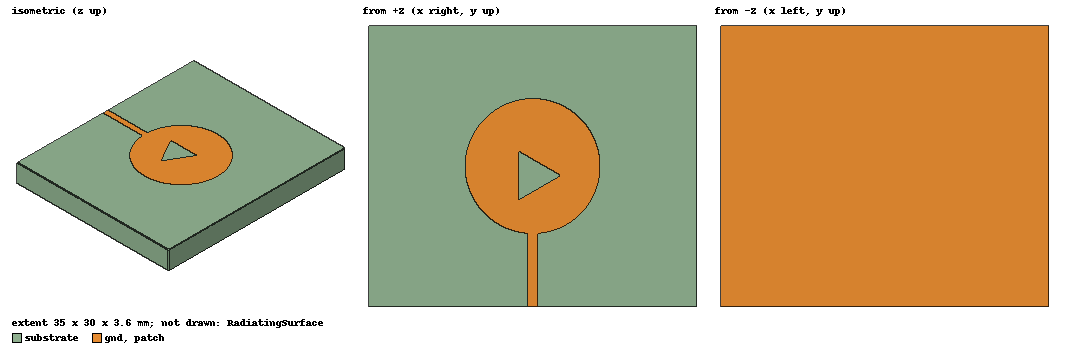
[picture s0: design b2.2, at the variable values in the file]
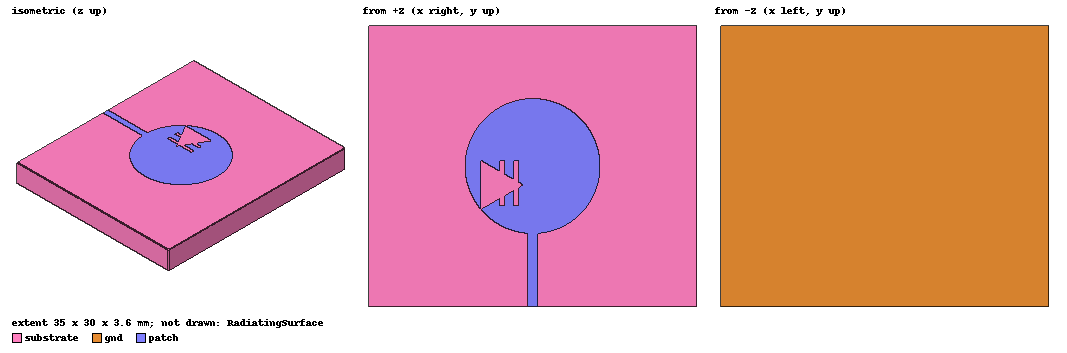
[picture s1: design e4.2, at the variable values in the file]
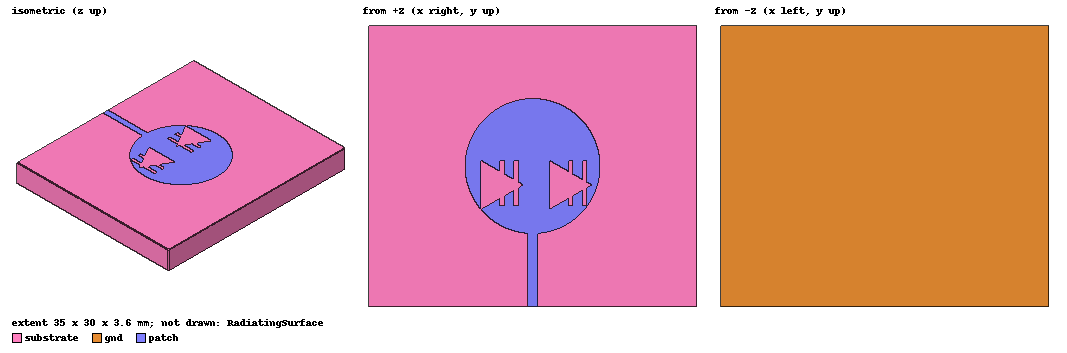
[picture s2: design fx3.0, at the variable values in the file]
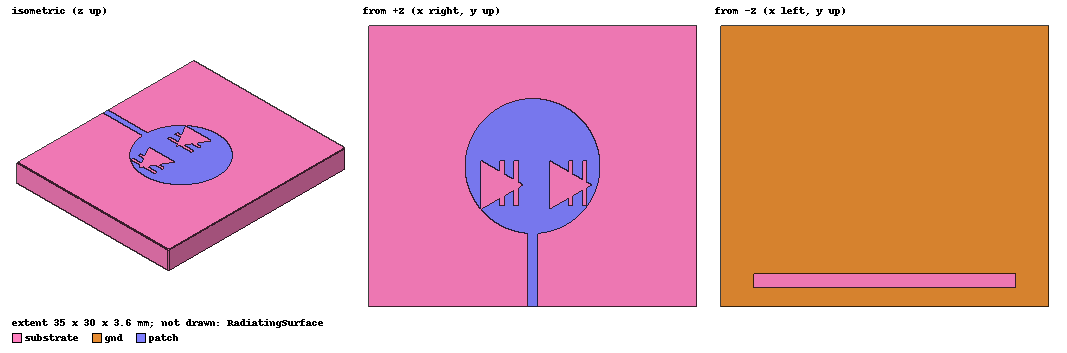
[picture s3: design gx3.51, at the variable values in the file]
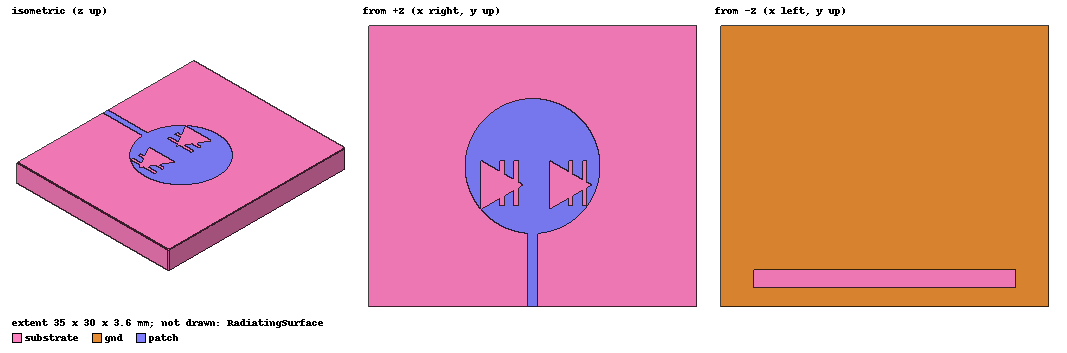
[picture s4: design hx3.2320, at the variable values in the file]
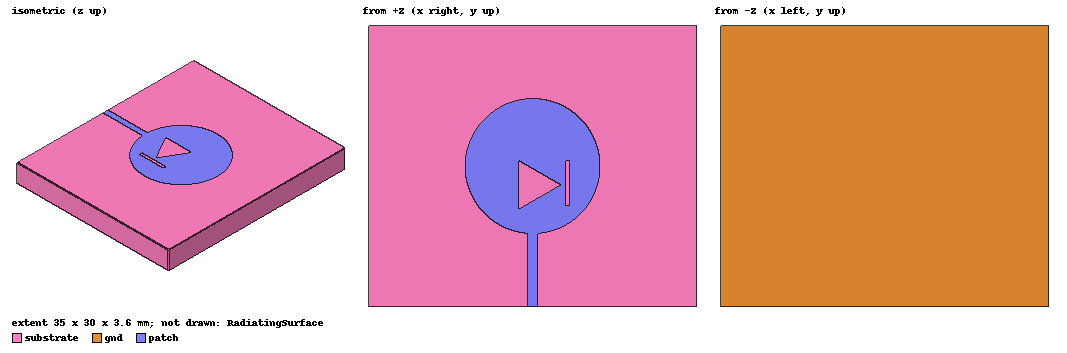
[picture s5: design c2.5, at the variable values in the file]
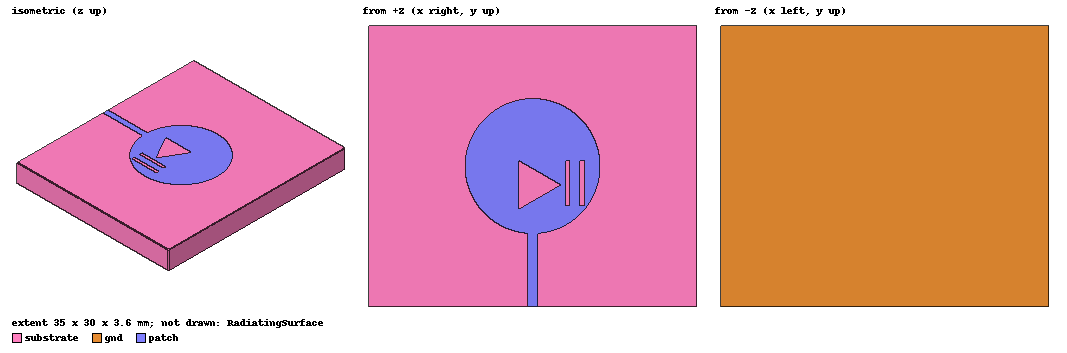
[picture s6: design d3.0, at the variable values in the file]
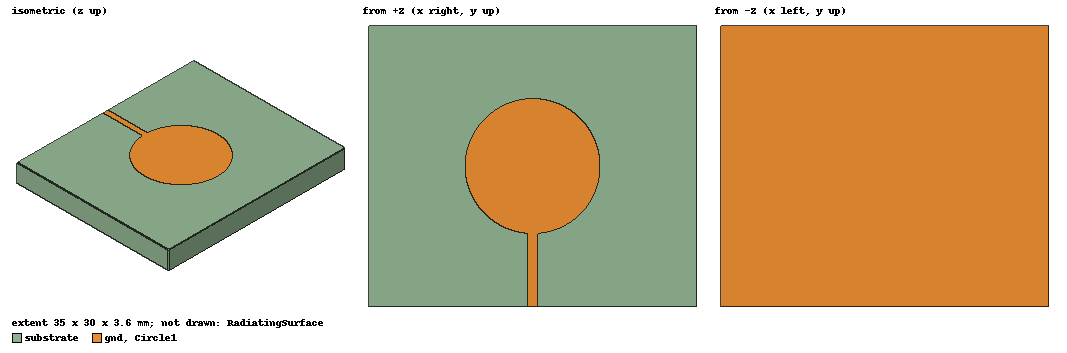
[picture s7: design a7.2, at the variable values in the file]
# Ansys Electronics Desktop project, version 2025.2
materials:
  FR4_epoxy: permittivity=4.4 dielectric_loss_tangent=0.02
  vacuum: permittivity=1

design b2.2 (HFSS, HFSS Modal Network, model units mm)
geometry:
  gnd = rectangle(corner=(0mm, 0mm, 0mm), x_size=35mm, y_size=30mm)
  substrate [FR4_epoxy] = box(corner=(0mm, 0mm, 0mm), size=(35mm, 30mm, 3.6mm))
  feed = rectangle(corner=(17mm, 0mm, 3.6mm), x_size=1mm, y_size=13.5mm)
  port = rectangle(corner=(17mm, 0mm, 0mm), z_size=3.6mm, x_size=1mm)
  RadiatingSurface [vacuum] = region(absolute_offset=20mm on all sides)
  patch = circle(normal=Z, centre=(17.5mm, 15mm, 3.6mm), radius=7.2mm)
  patch.unite(feed)
  slot = circle(normal=Z, centre=(17.5mm, 14mm, 3.6mm), radius=3mm, segments=3)
  patch.subtract(slot)
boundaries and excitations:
  PerfE1: Perfect E Objects=gnd
  Open1: Radiation Objects=RadiatingSurface
  PerfE2: Perfect E Objects=patch
  1: Lumped Port Objects=port LumpedPortType=Modal Modes{Mode1{IntLine{(17.5, 0, 0) -> (17.5, 0, 3.6)} CharImp=Zpi}} Impedance=50ohm
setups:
  Setup1: HfssDriven Frequency=5GHz MaxDeltaS=0.02 MaximumPasses=6 MinimumPasses=1 MinimumConvergedPasses=1 PercentRefinement=30 BasisOrder=1 PortAccuracy=2 DrivenSolverType="Direct Solver"
    sweep Sweep: 2.5GHz to 10GHz step 0.0125GHz; Type=Fast SaveFields
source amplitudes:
  1:1: 1W 0deg
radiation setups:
  3D: Infinite Sphere Theta=0deg..180deg step 2deg Phi=-180deg..180deg step 2deg
  Elevation: Infinite Sphere Theta=-180deg..180deg step 1deg Phi=0deg..90deg step 90deg
  Azimuth: Infinite Sphere Theta=90deg..90deg step 0deg Phi=-180deg..180deg step 1deg
  Infinite Sphere1: Infinite Sphere Theta=0deg..180deg step 10deg Phi=0deg..360deg step 10deg
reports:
  S Parameter Plot1: dB(S(1,1)) vs Freq on Setup1 : Sweep; markers m1 at 4.875GHz, m2 at 7.5125GHz, m3 at 9.2625GHz, MY1 at y=-10
  Gain Plot16: dB(GainTotal) vs Phi, Theta on Setup1 : Sweep, Infinite Sphere1 [Freq=7.5125GHz]
  Gain Plot17: dB(GainTotal) vs Phi, Theta on Setup1 : Sweep, Infinite Sphere1 [Freq=4.875GHz]
  Gain Plot18: dB(GainTotal) vs Phi, Theta on Setup1 : Sweep, Infinite Sphere1 [Freq=9.2625GHz]

design e4.2 (HFSS, HFSS Modal Network, model units mm)
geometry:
  gnd = rectangle(corner=(0mm, 0mm, 0mm), x_size=35mm, y_size=30mm)
  substrate [FR4_epoxy] = box(corner=(0mm, 0mm, 0mm), size=(35mm, 30mm, 3.6mm))
  feed = rectangle(corner=(17mm, 0mm, 3.6mm), x_size=1mm, y_size=13.5mm)
  port = rectangle(corner=(17mm, 0mm, 0mm), z_size=3.6mm, x_size=1mm)
  RadiatingSurface [vacuum] = region(absolute_offset=20mm on all sides)
  patch = circle(normal=Z, centre=(17.5mm, 15mm, 3.6mm), radius=7.2mm)
  patch.unite(feed)
  slot = circle(normal=Z, centre=(13.5mm, 13mm, 3.6mm), radius=3mm, segments=3)
  patch.subtract(slot)
  Rectangle1 = rectangle(corner=(14mm, 10.74mm, 3.6mm), x_size=0.5mm, y_size=4.8mm)
  patch.subtract(Rectangle1)
  Rectangle2 = rectangle(corner=(15.5mm, 10.74mm, 3.6mm), x_size=0.5mm, y_size=4.8mm)
  patch.subtract(Rectangle2)
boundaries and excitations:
  PerfE1: Perfect E Objects=gnd
  Open1: Radiation Objects=RadiatingSurface
  PerfE2: Perfect E Objects=patch
  1: Lumped Port Objects=port LumpedPortType=Modal Modes{Mode1{IntLine{(17.5, 0, 0) -> (17.5, 0, 3.6)} CharImp=Zpi}} Impedance=50ohm
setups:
  Setup1: HfssDriven Frequency=5GHz MaxDeltaS=0.02 MaximumPasses=6 MinimumPasses=1 MinimumConvergedPasses=1 PercentRefinement=30 BasisOrder=1 PortAccuracy=2 DrivenSolverType="Direct Solver"
    sweep Sweep: 2.5GHz to 10GHz step 0.0125GHz; Type=Fast SaveFields
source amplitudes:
  1:1: 1W 0deg
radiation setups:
  3D: Infinite Sphere Theta=0deg..180deg step 2deg Phi=-180deg..180deg step 2deg
  Elevation: Infinite Sphere Theta=-180deg..180deg step 1deg Phi=0deg..90deg step 90deg
  Azimuth: Infinite Sphere Theta=90deg..90deg step 0deg Phi=-180deg..180deg step 1deg
  Infinite Sphere1: Infinite Sphere Theta=0deg..180deg step 10deg Phi=0deg..360deg step 10deg
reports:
  S Parameter Plot1: dB(S(1,1)) vs Freq on Setup1 : Sweep; markers m1 at 4.8625GHz, m2 at 7.4875GHz, m3 at 9.1625GHz, MY1 at y=-10
  Gain Plot16: dB(GainTotal) vs Phi, Theta on Setup1 : Sweep, Infinite Sphere1 [Freq=7.4875GHz]
  Gain Plot17: dB(GainTotal) vs Phi, Theta on Setup1 : Sweep, Infinite Sphere1 [Freq=4.8625GHz]
  Gain Plot18: dB(GainTotal) vs Phi, Theta on Setup1 : Sweep, Infinite Sphere1 [Freq=9.1625GHz]

design fx3.0 (HFSS, HFSS Modal Network, model units mm)
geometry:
  gnd = rectangle(corner=(0mm, 0mm, 0mm), x_size=35mm, y_size=30mm)
  substrate [FR4_epoxy] = box(corner=(0mm, 0mm, 0mm), size=(35mm, 30mm, 3.6mm))
  feed = rectangle(corner=(17mm, 0mm, 3.6mm), x_size=1mm, y_size=13.5mm)
  port = rectangle(corner=(17mm, 0mm, 0mm), z_size=3.6mm, x_size=1mm)
  RadiatingSurface [vacuum] = region(absolute_offset=20mm on all sides)
  patch = circle(normal=Z, centre=(17.5mm, 15mm, 3.6mm), radius=7.2mm)
  patch.unite(feed)
  slot = circle(normal=Z, centre=(13.5mm, 13mm, 3.6mm), radius=3mm, segments=3)
  patch.subtract(slot)
  Rectangle1 = rectangle(corner=(14mm, 10.74mm, 3.6mm), x_size=0.5mm, y_size=4.8mm)
  patch.subtract(Rectangle1)
  Rectangle2 = rectangle(corner=(15.5mm, 10.74mm, 3.6mm), x_size=0.5mm, y_size=4.8mm)
  patch.subtract(Rectangle2)
  slot1 = circle(normal=Z, centre=(20.8mm, 13mm, 3.6mm), radius=3mm, segments=3)
  Rectangle3 = rectangle(corner=(21.3mm, 10.74mm, 3.6mm), x_size=0.5mm, y_size=4.8mm)
  Rectangle4 = rectangle(corner=(22.8mm, 10.74mm, 3.6mm), x_size=0.5mm, y_size=4.8mm)
  patch.subtract(Rectangle3, Rectangle4, slot1)
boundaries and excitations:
  PerfE1: Perfect E Objects=gnd
  Open1: Radiation Objects=RadiatingSurface
  PerfE2: Perfect E Objects=patch
  1: Lumped Port Objects=port LumpedPortType=Modal Modes{Mode1{IntLine{(17.5, 0, 0) -> (17.5, 0, 3.6)} CharImp=Zpi}} Impedance=50ohm
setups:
  Setup1: HfssDriven Frequency=5GHz MaxDeltaS=0.02 MaximumPasses=6 MinimumPasses=1 MinimumConvergedPasses=1 PercentRefinement=30 BasisOrder=1 PortAccuracy=2 DrivenSolverType="Direct Solver"
    sweep Sweep: 2.5GHz to 10GHz step 0.0125GHz; Type=Fast SaveFields
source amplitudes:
  1:1: 1W 0deg
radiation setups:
  3D: Infinite Sphere Theta=0deg..180deg step 2deg Phi=-180deg..180deg step 2deg
  Elevation: Infinite Sphere Theta=-180deg..180deg step 1deg Phi=0deg..90deg step 90deg
  Azimuth: Infinite Sphere Theta=90deg..90deg step 0deg Phi=-180deg..180deg step 1deg
  Infinite Sphere1: Infinite Sphere Theta=0deg..180deg step 10deg Phi=0deg..360deg step 10deg
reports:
  S Parameter Plot1: dB(S(1,1)) vs Freq on Setup1 : Sweep; markers m1 at 4.775GHz, m2 at 7.4625GHz, m3 at 9.0375GHz, MY1 at y=-10
  Gain Plot16: dB(GainTotal) vs Phi, Theta on Setup1 : Sweep, Infinite Sphere1 [Freq=7.4625GHz]
  Gain Plot17: dB(GainTotal) vs Phi, Theta on Setup1 : Sweep, Infinite Sphere1 [Freq=4.775GHz]
  Gain Plot18: dB(GainTotal) vs Phi, Theta on Setup1 : Sweep, Infinite Sphere1 [Freq=9.0375GHz]

design gx3.51 (HFSS, HFSS Modal Network, model units mm)
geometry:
  gnd = rectangle(corner=(0mm, 0mm, 0mm), x_size=35mm, y_size=30mm)
  substrate [FR4_epoxy] = box(corner=(0mm, 0mm, 0mm), size=(35mm, 30mm, 3.6mm))
  feed = rectangle(corner=(17mm, 0mm, 3.6mm), x_size=1mm, y_size=13.5mm)
  port = rectangle(corner=(17mm, 0mm, 0mm), z_size=3.6mm, x_size=1mm)
  RadiatingSurface [vacuum] = region(absolute_offset=20mm on all sides)
  patch = circle(normal=Z, centre=(17.5mm, 15mm, 3.6mm), radius=7.2mm)
  patch.unite(feed)
  slot = circle(normal=Z, centre=(13.5mm, 13mm, 3.6mm), radius=3mm, segments=3)
  patch.subtract(slot)
  Rectangle1 = rectangle(corner=(14mm, 10.74mm, 3.6mm), x_size=0.5mm, y_size=4.8mm)
  patch.subtract(Rectangle1)
  Rectangle2 = rectangle(corner=(15.5mm, 10.74mm, 3.6mm), x_size=0.5mm, y_size=4.8mm)
  patch.subtract(Rectangle2)
  slot1 = circle(normal=Z, centre=(20.8mm, 13mm, 3.6mm), radius=3mm, segments=3)
  Rectangle3 = rectangle(corner=(21.3mm, 10.74mm, 3.6mm), x_size=0.5mm, y_size=4.8mm)
  Rectangle4 = rectangle(corner=(22.8mm, 10.74mm, 3.6mm), x_size=0.5mm, y_size=4.8mm)
  patch.subtract(Rectangle3, Rectangle4, slot1)
  Rectangle5 = rectangle(corner=(3.5mm, 2mm, 0mm), x_size=28mm, y_size=1.5mm)
  gnd.subtract(Rectangle5)
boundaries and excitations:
  PerfE1: Perfect E Objects=gnd
  Open1: Radiation Objects=RadiatingSurface
  PerfE2: Perfect E Objects=patch
  1: Lumped Port Objects=port LumpedPortType=Modal Modes{Mode1{IntLine{(17.5, 0, 0) -> (17.5, 0, 3.6)} CharImp=Zpi}} Impedance=50ohm
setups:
  Setup1: HfssDriven Frequency=5GHz MaxDeltaS=0.02 MaximumPasses=6 MinimumPasses=1 MinimumConvergedPasses=1 PercentRefinement=30 BasisOrder=1 PortAccuracy=2 DrivenSolverType="Direct Solver"
    sweep Sweep: 2.5GHz to 10GHz step 0.0125GHz; Type=Fast SaveFields
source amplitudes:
  1:1: 1W 0deg
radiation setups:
  3D: Infinite Sphere Theta=0deg..180deg step 2deg Phi=-180deg..180deg step 2deg
  Elevation: Infinite Sphere Theta=-180deg..180deg step 1deg Phi=0deg..90deg step 90deg
  Azimuth: Infinite Sphere Theta=90deg..90deg step 0deg Phi=-180deg..180deg step 1deg
  Infinite Sphere1: Infinite Sphere Theta=0deg..180deg step 10deg Phi=0deg..360deg step 10deg
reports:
  S Parameter Plot1: dB(S(1,1)) vs Freq on Setup1 : Sweep; markers m1 at 3.725GHz, m2 at 5.025GHz, m3 at 7.35GHz, m4 at 8.9125GHz, m5 at 9.75GHz, MY1 at y=-10
  Gain Plot20: dB(GainTotal) vs Phi, Theta on Setup1 : Sweep, Infinite Sphere1 [Freq=3.75GHz]
  Gain Plot21: dB(GainTotal) vs Phi, Theta on Setup1 : Sweep, Infinite Sphere1 [Freq=5.025GHz]
  Gain Plot22: dB(GainTotal) vs Phi, Theta on Setup1 : Sweep, Infinite Sphere1 [Freq=7.35GHz]
  Gain Plot23: dB(GainTotal) vs Phi, Theta on Setup1 : Sweep, Infinite Sphere1 [Freq=8.9125GHz]
  Gain Plot24: dB(GainTotal) vs Phi, Theta on Setup1 : Sweep, Infinite Sphere1 [Freq=9.975GHz]

design hx3.2320 (HFSS, HFSS Modal Network, model units mm)
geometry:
  gnd = rectangle(corner=(0mm, 0mm, 0mm), x_size=35mm, y_size=30mm)
  substrate [FR4_epoxy] = box(corner=(0mm, 0mm, 0mm), size=(35mm, 30mm, 3.6mm))
  feed = rectangle(corner=(17mm, 0mm, 3.6mm), x_size=1mm, y_size=13.5mm)
  port = rectangle(corner=(17mm, 0mm, 0mm), z_size=3.6mm, x_size=1mm)
  RadiatingSurface [vacuum] = region(absolute_offset=20mm on all sides)
  patch = circle(normal=Z, centre=(17.5mm, 15mm, 3.6mm), radius=7.2mm)
  patch.unite(feed)
  slot = circle(normal=Z, centre=(13.5mm, 13mm, 3.6mm), radius=3mm, segments=3)
  patch.subtract(slot)
  Rectangle1 = rectangle(corner=(14mm, 10.74mm, 3.6mm), x_size=0.5mm, y_size=4.8mm)
  patch.subtract(Rectangle1)
  Rectangle2 = rectangle(corner=(15.5mm, 10.74mm, 3.6mm), x_size=0.5mm, y_size=4.8mm)
  patch.subtract(Rectangle2)
  slot1 = circle(normal=Z, centre=(20.8mm, 13mm, 3.6mm), radius=3mm, segments=3)
  Rectangle3 = rectangle(corner=(21.3mm, 10.74mm, 3.6mm), x_size=0.5mm, y_size=4.8mm)
  Rectangle4 = rectangle(corner=(22.8mm, 10.74mm, 3.6mm), x_size=0.5mm, y_size=4.8mm)
  patch.subtract(Rectangle3, Rectangle4, slot1)
  Rectangle5 = rectangle(corner=(3.5mm, 2mm, 0mm), x_size=28mm, y_size=2mm)
  gnd.subtract(Rectangle5)
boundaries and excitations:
  PerfE1: Perfect E Objects=gnd
  Open1: Radiation Objects=RadiatingSurface
  PerfE2: Perfect E Objects=patch
  1: Lumped Port Objects=port LumpedPortType=Modal Modes{Mode1{IntLine{(17.5, 0, 0) -> (17.5, 0, 3.6)} CharImp=Zpi}} Impedance=50ohm
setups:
  Setup1: HfssDriven Frequency=5GHz MaxDeltaS=0.02 MaximumPasses=6 MinimumPasses=1 MinimumConvergedPasses=1 PercentRefinement=30 BasisOrder=1 PortAccuracy=2 DrivenSolverType="Direct Solver"
    sweep Sweep: 2.5GHz to 10GHz step 0.0125GHz; Type=Fast SaveFields
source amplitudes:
  1:1: 1W 0deg
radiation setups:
  3D: Infinite Sphere Theta=0deg..180deg step 2deg Phi=-180deg..180deg step 2deg
  Elevation: Infinite Sphere Theta=-180deg..180deg step 1deg Phi=0deg..90deg step 90deg
  Azimuth: Infinite Sphere Theta=90deg..90deg step 0deg Phi=-180deg..180deg step 1deg
  Infinite Sphere1: Infinite Sphere Theta=0deg..180deg step 10deg Phi=0deg..360deg step 10deg
  EH: Infinite Sphere Theta=0deg..360deg step 3deg Phi=0deg..90deg step 90deg
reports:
  S Parameter Plot1: dB(S(1,1)) vs Freq on Setup1 : Sweep; markers m1 at 3.775GHz, m2 at 5.0375GHz, m3 at 7.3875GHz, MY1 at y=-10
  Gain Plot16: dB(GainTotal) vs Phi, Theta on Setup1 : Sweep, Infinite Sphere1 [Freq=3.775GHz]
  Gain Plot17: dB(GainTotal) vs Phi, Theta on Setup1 : Sweep, Infinite Sphere1 [Freq=4.775GHz]
  Gain Plot20: dB(GainTotal) vs Phi, Theta on Setup1 : Sweep, Infinite Sphere1 [Freq=7.3875GHz]

design c2.5 (HFSS, HFSS Modal Network, model units mm)
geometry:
  gnd = rectangle(corner=(0mm, 0mm, 0mm), x_size=35mm, y_size=30mm)
  substrate [FR4_epoxy] = box(corner=(0mm, 0mm, 0mm), size=(35mm, 30mm, 3.6mm))
  feed = rectangle(corner=(17mm, 0mm, 3.6mm), x_size=1mm, y_size=13.5mm)
  port = rectangle(corner=(17mm, 0mm, 0mm), z_size=3.6mm, x_size=1mm)
  RadiatingSurface [vacuum] = region(absolute_offset=20mm on all sides)
  patch = circle(normal=Z, centre=(17.5mm, 15mm, 3.6mm), radius=7.2mm)
  patch.unite(feed)
  slot = circle(normal=Z, centre=(17.5mm, 13mm, 3.6mm), radius=3mm, segments=3)
  patch.subtract(slot)
  Rectangle1 = rectangle(corner=(21mm, 10.74mm, 3.6mm), x_size=0.5mm, y_size=4.8mm)
  patch.subtract(Rectangle1)
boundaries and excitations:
  PerfE1: Perfect E Objects=gnd
  Open1: Radiation Objects=RadiatingSurface
  PerfE2: Perfect E Objects=patch
  1: Lumped Port Objects=port LumpedPortType=Modal Modes{Mode1{IntLine{(17.5, 0, 0) -> (17.5, 0, 3.6)} CharImp=Zpi}} Impedance=50ohm
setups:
  Setup1: HfssDriven Frequency=5GHz MaxDeltaS=0.02 MaximumPasses=6 MinimumPasses=1 MinimumConvergedPasses=1 PercentRefinement=30 BasisOrder=1 PortAccuracy=2 DrivenSolverType="Direct Solver"
    sweep Sweep: 2.5GHz to 10GHz step 0.0125GHz; Type=Fast SaveFields
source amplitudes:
  1:1: 1W 0deg
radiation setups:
  3D: Infinite Sphere Theta=0deg..180deg step 2deg Phi=-180deg..180deg step 2deg
  Elevation: Infinite Sphere Theta=-180deg..180deg step 1deg Phi=0deg..90deg step 90deg
  Azimuth: Infinite Sphere Theta=90deg..90deg step 0deg Phi=-180deg..180deg step 1deg
  Infinite Sphere1: Infinite Sphere Theta=0deg..180deg step 10deg Phi=0deg..360deg step 10deg
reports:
  S Parameter Plot1: dB(S(1,1)) vs Freq on Setup1 : Sweep; markers m1 at 4.875GHz, m2 at 7.475GHz, m3 at 9.25GHz, MY1 at y=-10
  Gain Plot16: dB(GainTotal) vs Phi, Theta on Setup1 : Sweep, Infinite Sphere1 [Freq=7.475GHz]
  Gain Plot17: dB(GainTotal) vs Phi, Theta on Setup1 : Sweep, Infinite Sphere1 [Freq=4.875GHz]
  Gain Plot18: dB(GainTotal) vs Phi, Theta on Setup1 : Sweep, Infinite Sphere1 [Freq=9.25GHz]

design d3.0 (HFSS, HFSS Modal Network, model units mm)
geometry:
  gnd = rectangle(corner=(0mm, 0mm, 0mm), x_size=35mm, y_size=30mm)
  substrate [FR4_epoxy] = box(corner=(0mm, 0mm, 0mm), size=(35mm, 30mm, 3.6mm))
  feed = rectangle(corner=(17mm, 0mm, 3.6mm), x_size=1mm, y_size=13.5mm)
  port = rectangle(corner=(17mm, 0mm, 0mm), z_size=3.6mm, x_size=1mm)
  RadiatingSurface [vacuum] = region(absolute_offset=20mm on all sides)
  patch = circle(normal=Z, centre=(17.5mm, 15mm, 3.6mm), radius=7.2mm)
  patch.unite(feed)
  slot = circle(normal=Z, centre=(17.5mm, 13mm, 3.6mm), radius=3mm, segments=3)
  patch.subtract(slot)
  Rectangle1 = rectangle(corner=(21mm, 10.74mm, 3.6mm), x_size=0.5mm, y_size=4.8mm)
  patch.subtract(Rectangle1)
  Rectangle2 = rectangle(corner=(22.5mm, 10.74mm, 3.6mm), x_size=0.5mm, y_size=4.8mm)
  patch.subtract(Rectangle2)
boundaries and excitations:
  PerfE1: Perfect E Objects=gnd
  Open1: Radiation Objects=RadiatingSurface
  PerfE2: Perfect E Objects=patch
  1: Lumped Port Objects=port LumpedPortType=Modal Modes{Mode1{IntLine{(17.5, 0, 0) -> (17.5, 0, 3.6)} CharImp=Zpi}} Impedance=50ohm
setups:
  Setup1: HfssDriven Frequency=5GHz MaxDeltaS=0.02 MaximumPasses=6 MinimumPasses=1 MinimumConvergedPasses=1 PercentRefinement=30 BasisOrder=1 PortAccuracy=2 DrivenSolverType="Direct Solver"
    sweep Sweep: 2.5GHz to 10GHz step 0.0125GHz; Type=Fast SaveFields
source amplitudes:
  1:1: 1W 0deg
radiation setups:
  3D: Infinite Sphere Theta=0deg..180deg step 2deg Phi=-180deg..180deg step 2deg
  Elevation: Infinite Sphere Theta=-180deg..180deg step 1deg Phi=0deg..90deg step 90deg
  Azimuth: Infinite Sphere Theta=90deg..90deg step 0deg Phi=-180deg..180deg step 1deg
  Infinite Sphere1: Infinite Sphere Theta=0deg..180deg step 10deg Phi=0deg..360deg step 10deg
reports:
  S Parameter Plot1: dB(S(1,1)) vs Freq on Setup1 : Sweep; markers m1 at 4.9GHz, m2 at 7.5GHz, m3 at 9.25GHz, MY1 at y=-10
  Gain Plot16: dB(GainTotal) vs Phi, Theta on Setup1 : Sweep, Infinite Sphere1 [Freq=7.5GHz]
  Gain Plot17: dB(GainTotal) vs Phi, Theta on Setup1 : Sweep, Infinite Sphere1 [Freq=4.9GHz]
  Gain Plot18: dB(GainTotal) vs Phi, Theta on Setup1 : Sweep, Infinite Sphere1 [Freq=9.25GHz]

design a7.2 (HFSS, HFSS Modal Network, model units mm)
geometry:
  gnd = rectangle(corner=(0mm, 0mm, 0mm), x_size=35mm, y_size=30mm)
  substrate [FR4_epoxy] = box(corner=(0mm, 0mm, 0mm), size=(35mm, 30mm, 3.6mm))
  feed = rectangle(corner=(17mm, 0mm, 3.6mm), x_size=1mm, y_size=13.5mm)
  port = rectangle(corner=(17mm, 0mm, 0mm), z_size=3.6mm, x_size=1mm)
  RadiatingSurface [vacuum] = region(absolute_offset=20mm on all sides)
  Circle1 = circle(normal=Z, centre=(17.5mm, 15mm, 3.6mm), radius=7.2mm)
  Circle1.unite(feed)
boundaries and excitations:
  PerfE1: Perfect E Objects=gnd
  Open1: Radiation Objects=RadiatingSurface
  PerfE2: Perfect E Objects=Circle1
  1: Lumped Port Objects=port LumpedPortType=Modal Modes{Mode1{IntLine{(17.5, 0, 0) -> (17.5, 0, 3.6)} CharImp=Zpi}} Impedance=50ohm
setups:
  Setup1: HfssDriven Frequency=5GHz MaxDeltaS=0.02 MaximumPasses=6 MinimumPasses=1 MinimumConvergedPasses=1 PercentRefinement=30 BasisOrder=1 PortAccuracy=2 DrivenSolverType="Direct Solver"
    sweep Sweep: 2.5GHz to 7.5GHz step 0.0125GHz; Type=Fast SaveFields
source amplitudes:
  1:1: 1W 0deg
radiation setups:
  3D: Infinite Sphere Theta=0deg..180deg step 2deg Phi=-180deg..180deg step 2deg
  Elevation: Infinite Sphere Theta=-180deg..180deg step 1deg Phi=0deg..90deg step 90deg
  Azimuth: Infinite Sphere Theta=90deg..90deg step 0deg Phi=-180deg..180deg step 1deg
  Infinite Sphere1: Infinite Sphere Theta=0deg..180deg step 10deg Phi=0deg..360deg step 10deg
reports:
  S Parameter Plot1: dB(S(1,1)) vs Freq on Setup1 : Sweep; markers m1 at 4.9375GHz, MY1 at y=-10.0296
  Gain Plot1: dB(GainTotal) vs Phi, Theta on Setup1 : Sweep, Infinite Sphere1 [Freq=4.9375GHz]
  Gain Plot2: dB(GainTotal) vs Phi, Theta on Setup1 : Sweep, Infinite Sphere1 [Freq=5.1GHz]
